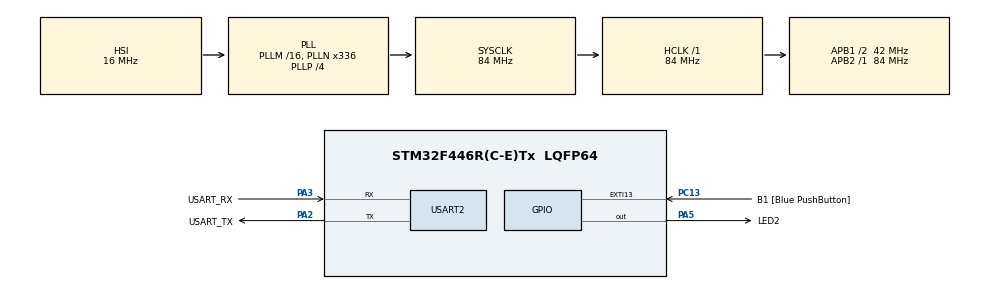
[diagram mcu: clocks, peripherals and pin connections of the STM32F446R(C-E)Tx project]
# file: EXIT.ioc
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Mcu.Family=STM32F4
Mcu.Name=STM32F446R(C-E)Tx
Mcu.Package=LQFP64
NVIC.EXTI15_10_IRQn=true\:0\:0\:false\:false\:true\:true\:true\:true
NVIC.PriorityGroup=NVIC_PRIORITYGROUP_0
PA13.GPIO_Label=TMS
PA13.Mode=Serial_Wire
PA13.Signal=SYS_JTMS-SWDIO
PA14.GPIO_Label=TCK
PA14.Mode=Serial_Wire
PA14.Signal=SYS_JTCK-SWCLK
PA2.GPIO_Label=USART_TX
PA2.Mode=Asynchronous
PA2.Signal=USART2_TX
PA3.GPIO_Label=USART_RX
PA3.Mode=Asynchronous
PA3.Signal=USART2_RX
PA5.GPIO_Label=LED2
PA5.Signal=GPIO_Output
PB3.GPIO_Label=SWO
PB3.Signal=SYS_JTDO-SWO
PC13.GPIO_Label=B1 [Blue PushButton]
PC13.GPIO_ModeDefaultEXTI=GPIO_MODE_IT_FALLING
PC13.Signal=GPXTI13
PC14-OSC32_IN.Signal=RCC_OSC32_IN
PC15-OSC32_OUT.Signal=RCC_OSC32_OUT
PH0-OSC_IN.Signal=RCC_OSC_IN
PH1-OSC_OUT.Signal=RCC_OSC_OUT
ProjectManager.HeapSize=0x200
ProjectManager.StackSize=0x400
ProjectManager.TargetToolchain=STM32CubeIDE
RCC.48MHZClocksFreq_Value=84000000
RCC.AHBFreq_Value=84000000
RCC.APB1CLKDivider=RCC_HCLK_DIV2
RCC.APB1Freq_Value=42000000
RCC.APB1TimFreq_Value=84000000
RCC.APB2Freq_Value=84000000
RCC.APB2TimFreq_Value=84000000
RCC.CortexFreq_Value=84000000
RCC.FLatency-AdvancedSettings=FLASH_LATENCY_2
RCC.HCLKFreq_Value=84000000
RCC.HSE_VALUE=8000000
RCC.HSI_VALUE=16000000
RCC.PLLN=336
RCC.PLLP=RCC_PLLP_DIV4
RCC.SYSCLKFreq_VALUE=84000000
RCC.SYSCLKSource=RCC_SYSCLKSOURCE_PLLCLK
RCC.USBFreq_Value=168000000
RCC.VCOOutputFreq_Value=336000000
USART2.VirtualMode=VM_ASYNC
board=NUCLEO-F446RE

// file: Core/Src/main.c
/* USER CODE BEGIN Header */
/**
  ******************************************************************************
  * @file           : main.c
  * @brief          : Main program body
  ******************************************************************************
  * @attention
  *
  * Copyright (c) 2026 STMicroelectronics.
  * All rights reserved.
  *
  * This software is licensed under terms that can be found in the LICENSE file
  * in the root directory of this software component.
  * If no LICENSE file comes with this software, it is provided AS-IS.
  *
  ******************************************************************************
  */
/* USER CODE END Header */
#include "main.h"

UART_HandleTypeDef huart2;

void SystemClock_Config(void);
static void MX_GPIO_Init(void);
static void MX_USART2_UART_Init(void);

/* USER CODE BEGIN 0 */
/* USER CODE BEGIN Header */
/**
  ******************************************************************************
  * @file           : main.c
  * @brief          : Main program body
  ******************************************************************************
  * @attention
  *
  * Copyright (c) 2026 STMicroelectronics.
  * All rights reserved.
  *
  * This software is licensed under terms that can be found in the LICENSE file
  * in the root directory of this software component.
  * If no LICENSE file comes with this software, it is provided AS-IS.
  *
  ******************************************************************************
  */
/* USER CODE END Header */
/* Includes ------------------------------------------------------------------*/
#include<stdio.h>
/* Private includes ----------------------------------------------------------*/
/* USER CODE BEGIN Includes */

/* USER CODE END Includes */

/* Private typedef -----------------------------------------------------------*/
/* USER CODE BEGIN PTD */

/* USER CODE END PTD */

/* Private define ------------------------------------------------------------*/
/* USER CODE BEGIN PD */

/* USER CODE END PD */

/* Private macro -------------------------------------------------------------*/
/* USER CODE BEGIN PM */

/* USER CODE END PM */

/* Private variables ---------------------------------------------------------*/
UART_HandleTypeDef huart2;

/* USER CODE BEGIN PV */

/* USER CODE END PV */

/* Private function prototypes -----------------------------------------------*/
void SystemClock_Config(void);
static void MX_GPIO_Init(void);
static void MX_USART2_UART_Init(void);
/* USER CODE BEGIN PFP */

/* USER CODE END PFP */

/* Private user code ---------------------------------------------------------*/
/* USER CODE BEGIN 0 */
#ifdef __GNUC__
#define PUTCHAR_PROTOTYPE int __io_putchar(int ch)
#else
#define PUTCHAR_PROTOTYPE int fputc(int ch, FILE *f)
#endif

PUTCHAR_PROTOTYPE
{
   if(ch == '\n')
       HAL_UART_Transmit (&huart2, (uint8_t*) "\r", 1, 0xFFFF);
   HAL_UART_Transmit (&huart2, (uint8_t*) &ch, 1, 0xFFFF);

   return ch;
}
/* USER CODE END 0 */

int main(void)
{

  /* MCU Configuration--------------------------------------------------------*/

  /* Reset of all peripherals, Initializes the Flash interface and the Systick. */
  HAL_Init();

  /* Configure the system clock */
  SystemClock_Config();

  /* Initialize all configured peripherals */
  MX_GPIO_Init();
  MX_USART2_UART_Init();

  /* Infinite loop */
  while (1)
  {

  }
}

void SystemClock_Config(void)
{
  RCC_OscInitTypeDef RCC_OscInitStruct = {0};
  RCC_ClkInitTypeDef RCC_ClkInitStruct = {0};

  /** Configure the main internal regulator output voltage
  */
  __HAL_RCC_PWR_CLK_ENABLE();
  __HAL_PWR_VOLTAGESCALING_CONFIG(PWR_REGULATOR_VOLTAGE_SCALE3);

  /** Initializes the RCC Oscillators according to the specified parameters
  * in the RCC_OscInitTypeDef structure.
  */
  RCC_OscInitStruct.OscillatorType = RCC_OSCILLATORTYPE_HSI;
  RCC_OscInitStruct.HSIState = RCC_HSI_ON;
  RCC_OscInitStruct.HSICalibrationValue = RCC_HSICALIBRATION_DEFAULT;
  RCC_OscInitStruct.PLL.PLLState = RCC_PLL_ON;
  RCC_OscInitStruct.PLL.PLLSource = RCC_PLLSOURCE_HSI;
  RCC_OscInitStruct.PLL.PLLM = 16;
  RCC_OscInitStruct.PLL.PLLN = 336;
  RCC_OscInitStruct.PLL.PLLP = RCC_PLLP_DIV4;
  RCC_OscInitStruct.PLL.PLLQ = 2;
  RCC_OscInitStruct.PLL.PLLR = 2;
  if (HAL_RCC_OscConfig(&RCC_OscInitStruct) != HAL_OK)
  {
    Error_Handler();
  }

  /** Initializes the CPU, AHB and APB buses clocks
  */
  RCC_ClkInitStruct.ClockType = RCC_CLOCKTYPE_HCLK|RCC_CLOCKTYPE_SYSCLK
                              |RCC_CLOCKTYPE_PCLK1|RCC_CLOCKTYPE_PCLK2;
  RCC_ClkInitStruct.SYSCLKSource = RCC_SYSCLKSOURCE_PLLCLK;
  RCC_ClkInitStruct.AHBCLKDivider = RCC_SYSCLK_DIV1;
  RCC_ClkInitStruct.APB1CLKDivider = RCC_HCLK_DIV2;
  RCC_ClkInitStruct.APB2CLKDivider = RCC_HCLK_DIV1;

  if (HAL_RCC_ClockConfig(&RCC_ClkInitStruct, FLASH_LATENCY_2) != HAL_OK)
  {
    Error_Handler();
  }
}

static void MX_USART2_UART_Init(void)
{

  huart2.Instance = USART2;
  huart2.Init.BaudRate = 115200;
  huart2.Init.WordLength = UART_WORDLENGTH_8B;
  huart2.Init.StopBits = UART_STOPBITS_1;
  huart2.Init.Parity = UART_PARITY_NONE;
  huart2.Init.Mode = UART_MODE_TX_RX;
  huart2.Init.HwFlowCtl = UART_HWCONTROL_NONE;
  huart2.Init.OverSampling = UART_OVERSAMPLING_16;
  if (HAL_UART_Init(&huart2) != HAL_OK)
  {
    Error_Handler();
  }

}

static void MX_GPIO_Init(void)
{
  GPIO_InitTypeDef GPIO_InitStruct = {0};

  /* GPIO Ports Clock Enable */
  __HAL_RCC_GPIOC_CLK_ENABLE();
  __HAL_RCC_GPIOH_CLK_ENABLE();
  __HAL_RCC_GPIOA_CLK_ENABLE();
  __HAL_RCC_GPIOB_CLK_ENABLE();

  /*Configure GPIO pin Output Level */
  HAL_GPIO_WritePin(LED2_GPIO_Port, LED2_Pin, GPIO_PIN_RESET);

  /*Configure GPIO pin : B1_Pin */
  GPIO_InitStruct.Pin = B1_Pin;
  GPIO_InitStruct.Mode = GPIO_MODE_IT_FALLING;
  GPIO_InitStruct.Pull = GPIO_NOPULL;
  HAL_GPIO_Init(B1_GPIO_Port, &GPIO_InitStruct);

  /*Configure GPIO pin : LED2_Pin */
  GPIO_InitStruct.Pin = LED2_Pin;
  GPIO_InitStruct.Mode = GPIO_MODE_OUTPUT_PP;
  GPIO_InitStruct.Pull = GPIO_NOPULL;
  GPIO_InitStruct.Speed = GPIO_SPEED_FREQ_LOW;
  HAL_GPIO_Init(LED2_GPIO_Port, &GPIO_InitStruct);

  /* EXTI interrupt init*/
  HAL_NVIC_SetPriority(EXTI15_10_IRQn, 0, 0);
  HAL_NVIC_EnableIRQ(EXTI15_10_IRQn);

}

/* USER CODE BEGIN 4 */

void HAL_GPIO_EXTI_Callback(uint16_t GPIO_Pin)
{
    // 누른 스위치가 파란색 버튼(B1_Pin)이 맞는지 확인합니다.
    if(GPIO_Pin == B1_Pin)
    {
        // 1. LED2의 상태를 반전시킵니다. (꺼져있으면 켜고, 켜져있으면 끔)
        HAL_GPIO_TogglePin(LED2_GPIO_Port, LED2_Pin);

        // 2. 현재 LED가 켜졌는지 꺼졌는지 상태를 읽어옵니다.
        if(HAL_GPIO_ReadPin(LED2_GPIO_Port, LED2_Pin) == GPIO_PIN_SET)
        {
            // 3. LED가 켜진 상태라면 테라텀에 문구를 출력합니다.
            printf("led2가 켜졌습니다\n");
        }
        else
        {
            // (선택사항) 꺼졌을 때도 보고 싶다면 추가
            printf("led2가 꺼졌습니다\n");
        }
    }
}

//HAL_GPIO_EXTI_Callback(uint16_t GPIO_Pin)
//{
//	switch (GPIO_Pin)
//	{
//	case B1_Pin:
//		HAL_GPIO_TogglePin(LED2_GPIO_Port, LED2_Pin);
//
//		break;
//
//	default:
//		;
//	}
//}

/* USER CODE END 4 */

void Error_Handler(void)
{
  __disable_irq();
  while (1)
  {
  }
}
